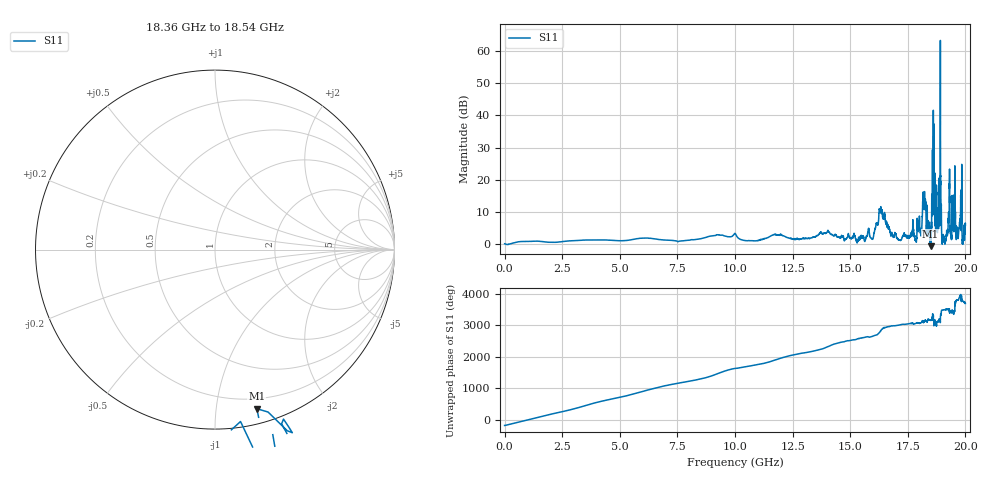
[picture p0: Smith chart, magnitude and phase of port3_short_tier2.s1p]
! Created with skrf 1.8.0 (http://scikit-rf.org).
# GHz S RI R 50.0
!freq ReS11 ImS11
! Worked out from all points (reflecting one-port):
!   10001 points, 1 MHz to 20 GHz, reference 50 ohm
!   lowest |S11| = -0.8 dB at 18.49 GHz (marker M1), VSWR 22.93, Z = 5.83 - j64.5 ohm
!   phase of S11 starts at -180 deg and turns +3873 deg over the sweep
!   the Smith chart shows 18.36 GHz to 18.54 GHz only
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0.001  -1 -0.000261
2.500875  -0.2378 -1.056
5.00075  1.107 -0.1293
5.980701  -1.219 0.0846
7.500625  0.2656 1.056
9.184541  1.351 0.1889
10.0005  -1.434 -0.1999
11.73041  -0.1448 1.391
12.50038  -0.2962 -1.143
13.37233  1.216 0.3379
14.0903  -1.523 0.0413
15.00025  1.22 -0.0506
16.16419  -2.034 0.105
16.29819  0.3614 -3.173
16.42018  2.539 0.8379
17.50013  -1.257 0.2962
18.0121  -1.992 -0.1145
18.21609  -0.3192 -4.568
18.48808  0.2329 -0.8863
18.67207  0.0592 -2.079
18.81206  -1.611 -1.936
18.81406  -1.957 -1.819
18.81606  -1.659 -1.808
19.01405  -0.4479 -1.04
19.01605  -0.3926 -0.9689
19.02405  -0.3925 -1.164
19.75201  1.023 -1.703
20  -0.1002 1.966
